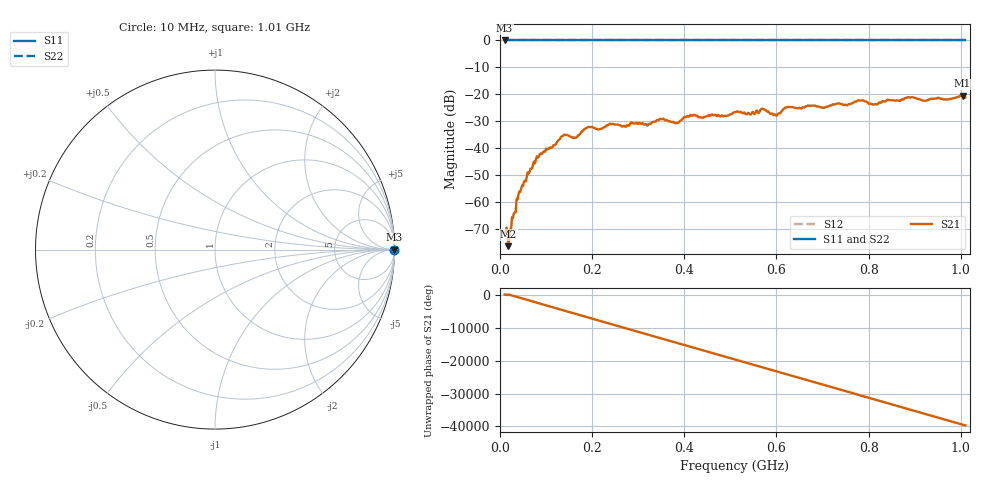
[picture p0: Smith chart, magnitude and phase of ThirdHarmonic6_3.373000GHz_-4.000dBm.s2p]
! 8/17/2025 10:42:07 AM
! C:\ANRITSUVNA\TEMP\TEMP.S2P
! CHANNEL.1
! TR.MEASUREMENT
! RAW.DATA
! RF.CORRECTION.OFF
! AVERAGING.OFF
! IF.BANDWIDTH: 5KHZ
! SWEEPTYPE:  FREQ.SWEEP(Linear)
! Reference Plane Port Info
! PORT:  PORT1  PORT2
! DISTANCE:  0  m  0  m
! TIME:  0  s  0  s
! PHASE.OFFSET:  0  deg.  0  deg.
! LOSS:  0  dB  0  dB
! REF.LOSS:  0  dB  0  dB
! REF.FREQ:  0  Hz  0  Hz
! Power Info
! POWER:  -20  dBm  -20  dBm
! EFF.POWER:  -20  dBm  -20  dBm
! SOURCE.ATTEN:  0  dB  0  dB
! TEST.ATTEN:  0  dB  0  dB
# GHZ S RI R 50.0
! FREQ.GHZ  S11RE  S11IM  S21RE  S21IM  S12RE  S12IM  S22RE  S22IM
!; PortSelection: Port_12
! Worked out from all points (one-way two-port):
!   501 points, 10 MHz to 1.01 GHz, reference 50 ohm
!   highest |S21| = -20.58 dB at 1.004 GHz (marker M1); lowest = -76.6 dB at 18 MHz (marker M2)
!   lowest |S11| = 0.0 dB at 10 MHz (marker M3)
!   |S11| at or under -10 dB: nowhere
!   |S22| runs from 0.0 to 0.0 dB; largest |S21 - S12| = 1.1
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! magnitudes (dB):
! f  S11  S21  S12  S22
! 10 MHz  0.0  -71.6  0.0  0.0
! 18 MHz  0.0  -76.6  0.0  0.0
! 22 MHz  0.0  -70.3  0.0  0.0
! 40 MHz  0.0  -57.3  0.0  0.0
! 82 MHz  0.0  -43.6  0.0  0.0
! 136 MHz  0.0  -35.6  0.0  0.0
! 162 MHz  0.0  -36.3  0.0  0.0
! 178 MHz  0.0  -33.8  0.0  0.0
! 192 MHz  0.0  -32.2  0.0  0.0
! 344 MHz  0.0  -29.6  0.0  0.0
! 384 MHz  0.0  -30.8  0.0  0.0
! 416 MHz  0.0  -28.0  0.0  0.0
! 510 MHz  0.0  -26.7  0.0  0.0
! 570 MHz  0.0  -25.4  0.0  0.0
! 598 MHz  0.0  -27.6  0.0  0.0
! 622 MHz  0.0  -25.0  0.0  0.0
! 678 MHz  0.0  -24.3  0.0  0.0
! 782 MHz  0.0  -22.4  0.0  0.0
! 814 MHz  0.0  -23.7  0.0  0.0
! 844 MHz  0.0  -22.2  0.0  0.0
! 1.004 GHz  0.0  -20.6  0.0  0.0
! 1.01 GHz  0.0  -21.3  0.0  0.0
